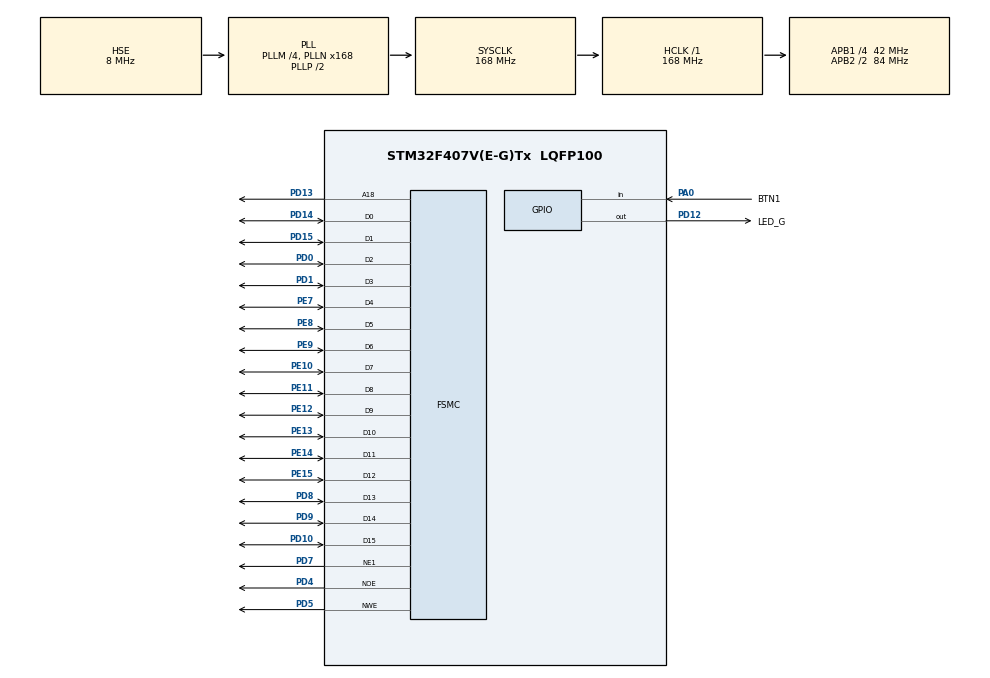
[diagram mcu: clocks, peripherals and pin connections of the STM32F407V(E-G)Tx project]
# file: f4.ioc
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FSMC.AddressSetupTime1=2
FSMC.BusTurnAroundDuration1=1
FSMC.DataSetupTime1=2
Mcu.Family=STM32F4
Mcu.Name=STM32F407V(E-G)Tx
Mcu.Package=LQFP100
NVIC.PriorityGroup=NVIC_PRIORITYGROUP_4
PA0-WKUP.GPIO_Label=BTN1
PA0-WKUP.Signal=GPIO_Input
PA13.Mode=Serial_Wire
PA13.Signal=SYS_JTMS-SWDIO
PA14.Mode=Serial_Wire
PA14.Signal=SYS_JTCK-SWCLK
PD0.Mode=16b-d1
PD0.Signal=FSMC_D2
PD1.Mode=16b-d1
PD1.Signal=FSMC_D3
PD10.Mode=16b-d1
PD10.Signal=FSMC_D15
PD12.GPIO_Label=LED_G
PD12.Signal=GPIO_Output
PD13.Mode=A18_1
PD13.Signal=FSMC_A18
PD14.Mode=16b-d1
PD14.Signal=FSMC_D0
PD15.Mode=16b-d1
PD15.Signal=FSMC_D1
PD4.Mode=Lcd1
PD4.Signal=FSMC_NOE
PD5.Mode=Lcd1
PD5.Signal=FSMC_NWE
PD7.Mode=NorPsramChipSelect1_1
PD7.Signal=FSMC_NE1
PD8.Mode=16b-d1
PD8.Signal=FSMC_D13
PD9.Mode=16b-d1
PD9.Signal=FSMC_D14
PE10.Mode=16b-d1
PE10.Signal=FSMC_D7
PE11.Mode=16b-d1
PE11.Signal=FSMC_D8
PE12.Mode=16b-d1
PE12.Signal=FSMC_D9
PE13.Mode=16b-d1
PE13.Signal=FSMC_D10
PE14.Mode=16b-d1
PE14.Signal=FSMC_D11
PE15.Mode=16b-d1
PE15.Signal=FSMC_D12
PE7.Mode=16b-d1
PE7.Signal=FSMC_D4
PE8.Mode=16b-d1
PE8.Signal=FSMC_D5
PE9.Mode=16b-d1
PE9.Signal=FSMC_D6
PH0-OSC_IN.Mode=HSE-External-Oscillator
PH0-OSC_IN.Signal=RCC_OSC_IN
PH1-OSC_OUT.Mode=HSE-External-Oscillator
PH1-OSC_OUT.Signal=RCC_OSC_OUT
ProjectManager.HeapSize=0x200
ProjectManager.StackSize=0x400
ProjectManager.TargetToolchain=STM32CubeIDE
RCC.48MHZClocksFreq_Value=84000000
RCC.AHBFreq_Value=168000000
RCC.APB1CLKDivider=RCC_HCLK_DIV4
RCC.APB1Freq_Value=42000000
RCC.APB1TimFreq_Value=84000000
RCC.APB2CLKDivider=RCC_HCLK_DIV2
RCC.APB2Freq_Value=84000000
RCC.APB2TimFreq_Value=168000000
RCC.CortexFreq_Value=168000000
RCC.EnbaleCSS=true
RCC.HCLKFreq_Value=168000000
RCC.HSE_VALUE=8000000
RCC.HSI_VALUE=16000000
RCC.LSE_VALUE=32768
RCC.PLLM=4
RCC.PLLN=168
RCC.PLLSourceVirtual=RCC_PLLSOURCE_HSE
RCC.SYSCLKFreq_VALUE=168000000
RCC.SYSCLKSource=RCC_SYSCLKSOURCE_PLLCLK
RCC.VCOOutputFreq_Value=336000000
board=f4

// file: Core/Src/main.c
/* USER CODE BEGIN Header */
/**
  ******************************************************************************
  * @file           : main.c
  * @brief          : Main program body
  ******************************************************************************
  * @attention
  *
  * Copyright (c) 2025 STMicroelectronics.
  * All rights reserved.
  *
  * This software is licensed under terms that can be found in the LICENSE file
  * in the root directory of this software component.
  * If no LICENSE file comes with this software, it is provided AS-IS.
  *
  ******************************************************************************
  */
/* USER CODE END Header */
#include "main.h"

/* USER CODE BEGIN Includes */
#include "lcd.h"
#include "dwt.h"
/* USER CODE END Includes */

SRAM_HandleTypeDef hsram1;

void SystemClock_Config(void);
static void MX_GPIO_Init(void);
static void MX_FSMC_Init(void);

/* USER CODE BEGIN 0 */
GPIO_PinState stat = 0;
/* USER CODE END 0 */

int main(void)
{

  /* MCU Configuration--------------------------------------------------------*/

  /* Reset of all peripherals, Initializes the Flash interface and the Systick. */
  HAL_Init();

  /* Configure the system clock */
  SystemClock_Config();

  /* Initialize all configured peripherals */
  MX_GPIO_Init();
  MX_FSMC_Init();

  /* Infinite loop */
  /* USER CODE BEGIN WHILE */
  DWT_Init();
  LCD_Init();

  uint32_t del1 = 100;
  uint32_t del2 = 600;
  HAL_GPIO_WritePin(LED_G_GPIO_Port, LED_G_Pin, GPIO_PIN_RESET);

#pragma clang diagnostic push
#pragma ide diagnostic ignored "EndlessLoop"
  u16 color = 1;

  while (1)
  {
    HAL_GPIO_TogglePin(LED_G_GPIO_Port, LED_G_Pin);
    HAL_Delay(del1);
    HAL_GPIO_TogglePin(LED_G_GPIO_Port, LED_G_Pin);
    HAL_Delay(del2);

    stat = HAL_GPIO_ReadPin(BTN1_GPIO_Port, BTN1_Pin);
    if( stat==GPIO_PIN_RESET ) {
      del1 = 100;
      del2 = 600;
    } else {
      del1 = 600;
      del2 = 100;
    }

    u32 t0 = DWT_Get_Current_Tick();
    LCD_Clear(color);
    u32 ticks = DWT_Elapsed_Tick(t0);
    POINT_COLOR = YELLOW;
    LCD_ShowxNum(130, 227, ticks / DWT_IN_MICROSEC, 8, 12, 9);

    color = color << 1;
    if (color == 0) {
      color = 1;
    }
    POINT_COLOR = BLACK;
    LCD_ShowxNum(0, 214, color, 10, 12, 0x0);

    /* USER CODE END WHILE */

    /* USER CODE BEGIN 3 */
  }
#pragma clang diagnostic pop
  /* USER CODE END 3 */
}

void SystemClock_Config(void)
{
  RCC_OscInitTypeDef RCC_OscInitStruct = {0};
  RCC_ClkInitTypeDef RCC_ClkInitStruct = {0};

  /** Configure the main internal regulator output voltage
  */
  __HAL_RCC_PWR_CLK_ENABLE();
  __HAL_PWR_VOLTAGESCALING_CONFIG(PWR_REGULATOR_VOLTAGE_SCALE1);

  /** Initializes the RCC Oscillators according to the specified parameters
  * in the RCC_OscInitTypeDef structure.
  */
  RCC_OscInitStruct.OscillatorType = RCC_OSCILLATORTYPE_HSE;
  RCC_OscInitStruct.HSEState = RCC_HSE_ON;
  RCC_OscInitStruct.PLL.PLLState = RCC_PLL_ON;
  RCC_OscInitStruct.PLL.PLLSource = RCC_PLLSOURCE_HSE;
  RCC_OscInitStruct.PLL.PLLM = 4;
  RCC_OscInitStruct.PLL.PLLN = 168;
  RCC_OscInitStruct.PLL.PLLP = RCC_PLLP_DIV2;
  RCC_OscInitStruct.PLL.PLLQ = 4;
  if (HAL_RCC_OscConfig(&RCC_OscInitStruct) != HAL_OK)
  {
    Error_Handler();
  }

  /** Initializes the CPU, AHB and APB buses clocks
  */
  RCC_ClkInitStruct.ClockType = RCC_CLOCKTYPE_HCLK|RCC_CLOCKTYPE_SYSCLK
                              |RCC_CLOCKTYPE_PCLK1|RCC_CLOCKTYPE_PCLK2;
  RCC_ClkInitStruct.SYSCLKSource = RCC_SYSCLKSOURCE_PLLCLK;
  RCC_ClkInitStruct.AHBCLKDivider = RCC_SYSCLK_DIV1;
  RCC_ClkInitStruct.APB1CLKDivider = RCC_HCLK_DIV4;
  RCC_ClkInitStruct.APB2CLKDivider = RCC_HCLK_DIV2;

  if (HAL_RCC_ClockConfig(&RCC_ClkInitStruct, FLASH_LATENCY_5) != HAL_OK)
  {
    Error_Handler();
  }

  /** Enables the Clock Security System
  */
  HAL_RCC_EnableCSS();
}

static void MX_GPIO_Init(void)
{
  GPIO_InitTypeDef GPIO_InitStruct = {0};

  /* GPIO Ports Clock Enable */
  __HAL_RCC_GPIOH_CLK_ENABLE();
  __HAL_RCC_GPIOA_CLK_ENABLE();
  __HAL_RCC_GPIOE_CLK_ENABLE();
  __HAL_RCC_GPIOD_CLK_ENABLE();

  /*Configure GPIO pin Output Level */
  HAL_GPIO_WritePin(LED_G_GPIO_Port, LED_G_Pin, GPIO_PIN_RESET);

  /*Configure GPIO pin : BTN1_Pin */
  GPIO_InitStruct.Pin = BTN1_Pin;
  GPIO_InitStruct.Mode = GPIO_MODE_INPUT;
  GPIO_InitStruct.Pull = GPIO_NOPULL;
  HAL_GPIO_Init(BTN1_GPIO_Port, &GPIO_InitStruct);

  /*Configure GPIO pin : LED_G_Pin */
  GPIO_InitStruct.Pin = LED_G_Pin;
  GPIO_InitStruct.Mode = GPIO_MODE_OUTPUT_PP;
  GPIO_InitStruct.Pull = GPIO_NOPULL;
  GPIO_InitStruct.Speed = GPIO_SPEED_FREQ_LOW;
  HAL_GPIO_Init(LED_G_GPIO_Port, &GPIO_InitStruct);

}

/* FSMC initialization function */
static void MX_FSMC_Init(void)
{

  FSMC_NORSRAM_TimingTypeDef Timing = {0};

  /** Perform the SRAM1 memory initialization sequence
  */
  hsram1.Instance = FSMC_NORSRAM_DEVICE;
  hsram1.Extended = FSMC_NORSRAM_EXTENDED_DEVICE;
  /* hsram1.Init */
  hsram1.Init.NSBank = FSMC_NORSRAM_BANK1;
  hsram1.Init.DataAddressMux = FSMC_DATA_ADDRESS_MUX_DISABLE;
  hsram1.Init.MemoryType = FSMC_MEMORY_TYPE_SRAM;
  hsram1.Init.MemoryDataWidth = FSMC_NORSRAM_MEM_BUS_WIDTH_16;
  hsram1.Init.BurstAccessMode = FSMC_BURST_ACCESS_MODE_DISABLE;
  hsram1.Init.WaitSignalPolarity = FSMC_WAIT_SIGNAL_POLARITY_LOW;
  hsram1.Init.WrapMode = FSMC_WRAP_MODE_DISABLE;
  hsram1.Init.WaitSignalActive = FSMC_WAIT_TIMING_BEFORE_WS;
  hsram1.Init.WriteOperation = FSMC_WRITE_OPERATION_ENABLE;
  hsram1.Init.WaitSignal = FSMC_WAIT_SIGNAL_DISABLE;
  hsram1.Init.ExtendedMode = FSMC_EXTENDED_MODE_DISABLE;
  hsram1.Init.AsynchronousWait = FSMC_ASYNCHRONOUS_WAIT_DISABLE;
  hsram1.Init.WriteBurst = FSMC_WRITE_BURST_DISABLE;
  hsram1.Init.PageSize = FSMC_PAGE_SIZE_NONE;
  /* Timing */
  Timing.AddressSetupTime = 2;
  Timing.AddressHoldTime = 15;
  Timing.DataSetupTime = 2;
  Timing.BusTurnAroundDuration = 1;
  Timing.CLKDivision = 16;
  Timing.DataLatency = 17;
  Timing.AccessMode = FSMC_ACCESS_MODE_A;
  /* ExtTiming */

  if (HAL_SRAM_Init(&hsram1, &Timing, NULL) != HAL_OK)
  {
    Error_Handler( );
  }

}

void Error_Handler(void)
{
  __disable_irq();
  while (1)
  {
  }
}
